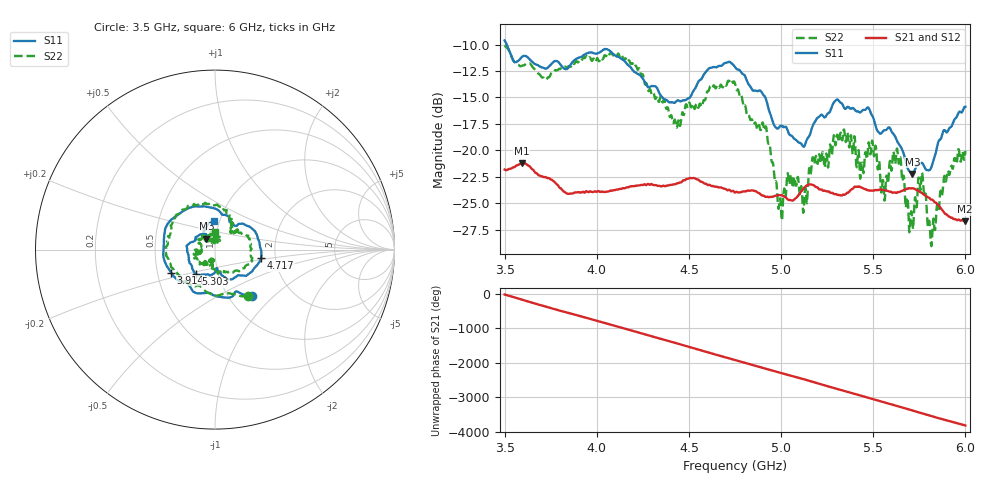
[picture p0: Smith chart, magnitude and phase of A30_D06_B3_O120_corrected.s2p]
! Created with skrf 1.9.0 (http://scikit-rf.org).
# Hz S RI R 50.0
!freq ReS11 ImS11 ReS21 ImS21 ReS12 ImS12 ReS22 ImS22
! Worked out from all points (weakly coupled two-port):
!   1601 points, 3.5 GHz to 6 GHz, reference 50 ohm
!   highest |S21| = -21.21 dB at 3.592 GHz (marker M1); lowest = -26.7 dB at 5.995 GHz (marker M2)
!   lowest |S11| = -22.2 dB at 5.713 GHz (marker M3), VSWR 1.17, Z = 45.1 + j5.49 ohm
!   |S11| at or under -10 dB: 3.512 GHz to end of sweep
!   |S22| runs from -29.1 to -10.1 dB; largest |S21 - S12| = 0.00094
!   S11 on the Smith chart (normalised r, x): 3.5 GHz: 1.27, -0.74; 3.914 GHz: 0.59, -0.16; 4.717 GHz: 1.68, -0.16; 5.303 GHz: 0.78, -0.22; 6 GHz: 0.94, +0.31
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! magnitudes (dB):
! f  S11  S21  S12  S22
! 3.5 GHz  -9.6  -21.8  -21.8  -10.1
! 3.592 GHz  -11.2  -21.2  -21.2  -12.0
! 3.914 GHz  -11.2  -24.0  -24.0  -11.5
! 3.917 GHz  -11.2  -24.0  -23.9  -11.5
! 4.127 GHz  -11.3  -23.6  -23.6  -11.2
! 4.334 GHz  -14.4  -23.4  -23.3  -15.3
! 4.442 GHz  -15.3  -23.1  -23.0  -17.2
! 4.717 GHz  -11.6  -23.7  -23.8  -13.4
! 4.75 GHz  -12.1  -24.0  -23.9  -13.7
! 4.911 GHz  -14.9  -24.3  -24.3  -18.1
! 4.995 GHz  -17.7  -24.2  -24.2  -24.5
! 5.044 GHz  -18.5  -24.7  -24.7  -23.2
! 5.13 GHz  -19.5  -23.5  -23.4  -23.7
! 5.167 GHz  -17.9  -23.2  -23.2  -21.1
! 5.303 GHz  -15.2  -24.2  -24.1  -18.6
! 5.584 GHz  -17.8  -23.9  -23.8  -22.2
! 5.638 GHz  -19.4  -23.9  -23.9  -21.2
! 5.713 GHz  -22.2  -23.6  -23.5  -26.9
! 5.758 GHz  -21.2  -24.0  -23.9  -23.5
! 5.823 GHz  -21.1  -24.7  -24.7  -27.0
! 5.995 GHz  -15.9  -26.7  -26.6  -20.8
! 6 GHz  -15.9  -26.7  -26.6  -20.0
